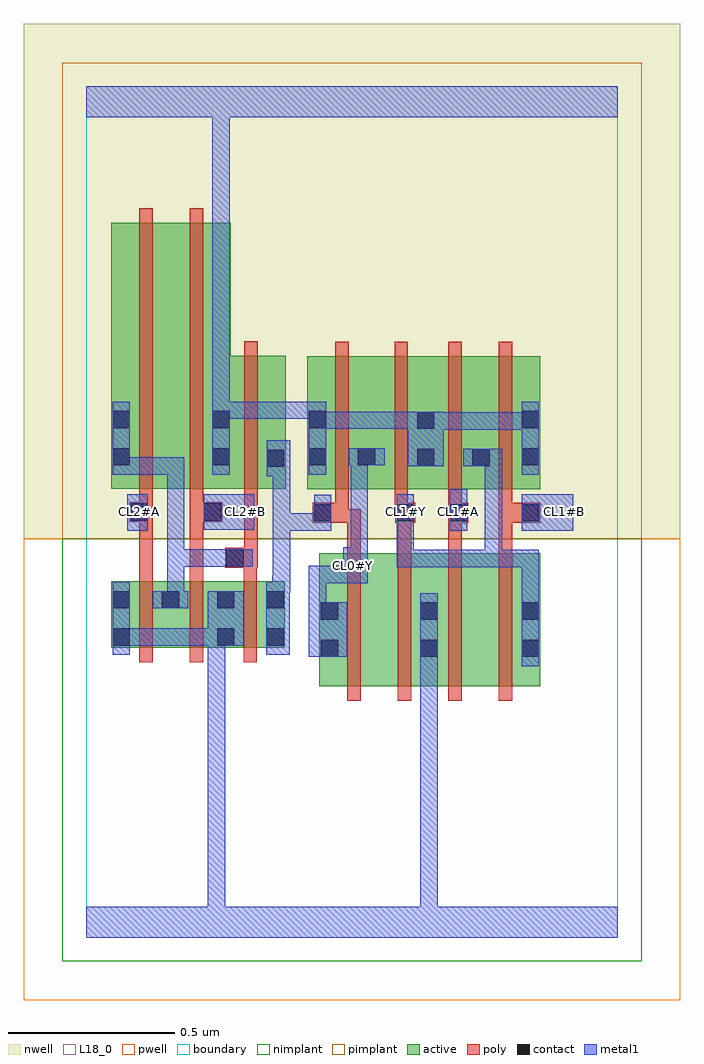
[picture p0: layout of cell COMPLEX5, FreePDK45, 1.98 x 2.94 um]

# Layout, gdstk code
import gdstk
lib = gdstk.Library(unit=1e-6, precision=1e-09)
def R(c, l, rs):  # rectangles x0, y0, x1, y1
    for r in rs: c.add(gdstk.rectangle(r[:2], r[2:], *l))
def A(c, l, x, y, w, h, nx, ny, dx, dy):  # array of equal rectangles
    R(c, l, [(x+i*dx, y+j*dy, x+i*dx+w, y+j*dy+h) for i in range(nx) for j in range(ny)])
active = (1, 0)
pwell = (2, 0)
nwell = (3, 0)
nimplant = (4, 0)
pimplant = (5, 0)
poly = (9, 0)
contact = (10, 0)
metal1 = (11, 0)
L18_0 = (18, 0)
boundary = (235, 0)

complex5 = lib.new_cell('COMPLEX5')
R(complex5, active, [(0.702,0.756,0.762,1.156), (0.702,0.756,0.882,1.156), (0.882,0.756,1.062,1.156), (1.002,0.756,1.062,1.156), (1.002,0.756,1.186,1.156), (1.186,0.756,1.366,1.156), (1.306,0.756,1.366,1.156), (0.076,0.872,0.136,1.072), (0.076,0.872,0.284,1.072), (0.224,0.872,0.284,1.072), (0.224,0.872,0.45,1.072), (0.39,0.872,0.45,1.072), (0.39,0.872,0.598,1.072), (0.538,0.872,0.598,1.072), (0.666,1.348,0.726,1.644), (0.666,1.348,0.874,1.748), (0.814,1.348,1.052,1.748), (0.992,1.348,1.218,1.748), (1.158,1.348,1.366,1.748), (1.306,1.348,1.366,1.644), (0.076,1.35,0.256,2.15), (0.076,1.35,0.136,2.044), (0.256,1.35,0.436,2.15), (0.376,1.35,0.6,1.75), (0.376,1.35,0.436,1.738), (0.54,1.35,0.6,1.644), (0.992,1.414,1.052,1.644), (1.158,1.414,1.218,1.644), (0.814,1.416,0.874,1.644)])
R(complex5, pwell, [(-0.188,-0.188,1.788,1.2)])
R(complex5, nwell, [(-0.188,1.2,1.788,2.748)])
R(complex5, nimplant, [(-0.072,-0.072,1.672,1.2)])
R(complex5, pimplant, [(-0.072,1.2,1.672,2.632)])
A(complex5, poly, 0.786, 0.712, 0.04, 0.488, 4, 1, 0.152, 0)
A(complex5, poly, 0.786, 1.16, 0.04, 0.128, 4, 1, 0.152, 0)
R(complex5, poly, [(0.16,0.828,0.2,1.116), (0.312,0.828,0.352,1.116), (0.474,0.828,0.514,1.116), (0.16,1.076,0.2,1.29), (0.312,1.076,0.352,1.29), (0.474,1.076,0.514,1.152), (0.418,1.112,0.516,1.172), (0.476,1.132,0.516,1.172), (0.476,1.132,0.516,1.172), (0.476,1.132,0.516,1.346), (0.682,1.248,0.79,1.308), (0.75,1.248,0.79,1.288), (0.75,1.248,0.826,1.288), (0.93,1.248,0.99,1.308), (1.09,1.248,1.13,1.288), (1.09,1.248,1.13,1.288), (1.09,1.248,1.15,1.308), (1.242,1.248,1.282,1.288), (1.242,1.248,1.282,1.288), (1.242,1.248,1.366,1.308), (0.13,1.25,0.2,1.31), (0.312,1.25,0.352,1.29), (0.312,1.25,0.352,1.29), (0.312,1.25,0.41,1.31), (0.75,1.268,0.79,1.344), (0.928,1.268,0.968,1.344), (0.928,1.268,0.97,1.308), (0.93,1.268,0.97,1.308), (1.09,1.268,1.13,1.344), (1.242,1.268,1.282,1.344), (0.16,1.27,0.2,1.346), (0.16,1.27,0.2,1.31), (0.16,1.27,0.2,1.31), (0.312,1.27,0.352,1.346), (0.75,1.304,0.79,1.792), (0.928,1.304,0.968,1.792), (1.09,1.304,1.13,1.792), (1.242,1.304,1.282,1.792), (0.16,1.306,0.2,2.194), (0.312,1.306,0.352,2.194), (0.476,1.306,0.516,1.794)])
R(complex5, contact, [(0.706,0.844,0.758,0.896), (1.006,0.844,1.058,0.896), (1.31,0.844,1.362,0.896), (0.08,0.878,0.132,0.93), (0.394,0.878,0.446,0.93), (0.542,0.878,0.594,0.93), (0.706,0.956,0.758,1.008), (1.006,0.956,1.058,1.008), (1.31,0.956,1.362,1.008), (0.08,0.99,0.132,1.042), (0.228,0.99,0.28,1.042), (0.394,0.99,0.446,1.042), (0.542,0.99,0.594,1.042), (0.422,1.116,0.474,1.168), (0.686,1.252,0.738,1.304), (0.934,1.252,0.986,1.304), (1.094,1.252,1.146,1.304), (1.31,1.252,1.362,1.304), (0.134,1.254,0.186,1.306), (0.354,1.254,0.406,1.306), (0.544,1.416,0.596,1.468), (0.996,1.418,1.048,1.47), (1.162,1.418,1.214,1.47), (0.08,1.42,0.132,1.472), (0.38,1.42,0.432,1.472), (0.67,1.42,0.722,1.472), (0.818,1.42,0.87,1.472), (1.31,1.42,1.362,1.472), (0.996,1.53,1.048,1.582), (0.08,1.532,0.132,1.584), (0.38,1.532,0.432,1.584), (0.67,1.532,0.722,1.584), (1.31,1.532,1.362,1.584)])
R(complex5, metal1, [(0,0,1.6,0.092), (0.366,0.04,0.418,0.092), (0.366,0.04,0.418,0.092), (0.366,0.04,0.418,0.092), (0.366,0.04,0.418,0.092), (0.366,0.04,0.418,0.092), (0.366,0.04,0.418,0.092), (0.366,0.04,0.418,0.092), (0.366,0.04,0.418,0.092), (0.366,0.04,0.418,0.092), (0.366,0.04,0.418,0.092), (0.366,0.04,0.418,0.93), (1.006,0.04,1.058,0.092), (1.006,0.04,1.058,0.092), (1.006,0.04,1.058,0.092), (1.006,0.04,1.058,0.092), (1.006,0.04,1.058,0.092), (1.006,0.04,1.058,0.092), (1.006,0.04,1.058,0.092), (1.006,0.04,1.058,0.092), (1.006,0.04,1.058,0.092), (1.006,0.04,1.058,0.092), (1.006,0.04,1.058,0.868), (1.006,0.816,1.058,0.868), (1.006,0.816,1.058,0.868), (1.006,0.816,1.058,1.036), (1.31,0.816,1.362,1.036), (0.67,0.844,0.786,1.008), (0.08,0.85,0.132,1.07), (0.542,0.85,0.612,1.07), (0.08,0.878,0.132,0.93), (0.08,0.878,0.132,0.93), (0.08,0.878,0.296,0.93), (0.244,0.878,0.296,0.93), (0.244,0.878,0.296,0.93), (0.244,0.878,0.296,0.93), (0.244,0.878,0.418,0.93), (0.366,0.878,0.418,0.93), (0.366,0.878,0.418,0.93), (0.366,0.878,0.418,0.93), (0.366,0.878,0.418,0.93), (0.366,0.878,0.418,0.93), (0.366,0.878,0.418,0.93), (0.366,0.878,0.474,1.042), (0.67,0.956,0.722,1.118), (1.31,0.984,1.362,1.166), (0.2,0.99,0.308,1.042), (0.244,0.99,0.296,1.168), (0.56,1.018,0.612,1.09), (0.56,1.038,0.614,1.09), (0.562,1.038,0.614,1.276), (0.67,1.066,0.722,1.118), (0.67,1.066,0.826,1.118), (0.774,1.066,0.826,1.118), (0.774,1.066,0.826,1.118), (0.774,1.066,0.848,1.174), (0.934,1.114,1.252,1.166), (0.934,1.114,0.986,1.276), (1.2,1.114,1.252,1.166), (1.2,1.114,1.252,1.166), (1.2,1.114,1.252,1.166), (1.2,1.114,1.362,1.166), (1.2,1.114,1.252,1.47), (1.31,1.114,1.362,1.166), (1.31,1.114,1.362,1.166), (1.31,1.114,1.362,1.166), (0.244,1.116,0.296,1.168), (0.244,1.116,0.296,1.168), (0.244,1.116,0.296,1.168), (0.244,1.116,0.446,1.168), (0.244,1.116,0.296,1.444), (0.394,1.116,0.446,1.168), (0.394,1.116,0.446,1.168), (0.394,1.116,0.502,1.168), (0.796,1.122,0.848,1.472), (0.124,1.224,0.186,1.334), (0.562,1.224,0.614,1.44), (0.562,1.224,0.616,1.276), (0.564,1.224,0.616,1.276), (0.564,1.224,0.616,1.276), (0.564,1.224,0.738,1.276), (0.686,1.224,0.738,1.332), (0.934,1.224,0.986,1.276), (0.934,1.224,0.986,1.334), (1.094,1.224,1.146,1.348), (1.31,1.224,1.466,1.334), (0.354,1.226,0.506,1.334), (0.544,1.388,0.614,1.496), (0.08,1.392,0.132,1.444), (0.08,1.392,0.132,1.444), (0.08,1.392,0.132,1.444), (0.08,1.392,0.132,1.444), (0.08,1.392,0.132,1.612), (0.08,1.392,0.296,1.444), (0.244,1.392,0.296,1.444), (0.38,1.392,0.432,1.612), (0.67,1.392,0.722,1.612), (1.31,1.392,1.362,1.612), (0.968,1.418,1.076,1.582), (1.134,1.418,1.252,1.47), (1.2,1.418,1.252,1.47), (1.2,1.418,1.252,1.47), (0.79,1.42,0.898,1.472), (0.796,1.42,0.848,1.472), (0.796,1.42,0.848,1.472), (1.024,1.528,1.252,1.58), (1.2,1.528,1.252,1.58), (1.2,1.528,1.252,1.58), (1.2,1.528,1.252,1.58), (1.2,1.528,1.362,1.58), (1.31,1.528,1.362,1.58), (1.31,1.528,1.362,1.58), (0.67,1.53,0.848,1.582), (0.796,1.53,0.848,1.582), (0.796,1.53,0.848,1.582), (0.796,1.53,0.848,1.582), (0.796,1.53,1.02,1.582), (0.968,1.53,1.02,1.582), (0.968,1.53,1.02,1.582), (0.38,1.56,0.432,1.612), (0.38,1.56,0.432,1.612), (0.38,1.56,0.432,1.612), (0.38,1.56,0.432,1.612), (0.38,1.56,0.432,1.612), (0.38,1.56,0.432,1.612), (0.38,1.56,0.432,1.612), (0.38,1.56,0.432,1.612), (0.38,1.56,0.432,1.612), (0.38,1.56,0.432,1.612), (0.38,1.56,0.628,1.612), (0.38,1.56,0.432,2.52), (0.576,1.56,0.628,1.612), (0.576,1.56,0.628,1.612), (0.576,1.56,0.628,1.612), (0.576,1.56,0.628,1.612), (0.576,1.56,0.628,1.612), (0.576,1.56,0.628,1.612), (0.576,1.56,0.628,1.612), (0.576,1.56,0.628,1.612), (0.576,1.56,0.628,1.612), (0.576,1.56,0.722,1.612), (0,2.468,1.6,2.56)])
R(complex5, L18_0, [(0,0,1.6,0.092), (0.366,0.04,0.418,0.092), (0.366,0.04,0.418,0.092), (0.366,0.04,0.418,0.092), (0.366,0.04,0.418,0.092), (0.366,0.04,0.418,0.092), (0.366,0.04,0.418,0.092), (0.366,0.04,0.418,0.092), (0.366,0.04,0.418,0.092), (0.366,0.04,0.418,0.092), (0.366,0.04,0.418,0.092), (0.366,0.04,0.418,0.93), (1.006,0.04,1.058,0.092), (1.006,0.04,1.058,0.092), (1.006,0.04,1.058,0.092), (1.006,0.04,1.058,0.092), (1.006,0.04,1.058,0.092), (1.006,0.04,1.058,0.092), (1.006,0.04,1.058,0.092), (1.006,0.04,1.058,0.092), (1.006,0.04,1.058,0.092), (1.006,0.04,1.058,0.092), (1.006,0.04,1.058,0.868), (1.006,0.816,1.058,1.036), (1.006,0.816,1.058,0.868), (1.006,0.816,1.058,0.868), (1.31,0.816,1.362,1.036), (0.67,0.844,0.786,1.008), (0.08,0.85,0.132,1.07), (0.08,0.878,0.132,0.93), (0.08,0.878,0.132,0.93), (0.08,0.878,0.296,0.93), (0.244,0.878,0.296,0.93), (0.244,0.878,0.296,0.93), (0.244,0.878,0.296,0.93), (0.244,0.878,0.418,0.93), (0.366,0.878,0.418,0.93), (0.366,0.878,0.418,0.93), (0.366,0.878,0.418,0.93), (0.366,0.878,0.418,0.93), (0.366,0.878,0.418,0.93), (0.366,0.878,0.418,0.93), (0.366,0.878,0.474,1.042), (0.67,0.956,0.722,1.118), (1.31,0.984,1.362,1.166), (0.67,1.066,0.722,1.118), (0.67,1.066,0.826,1.118), (0.774,1.066,0.826,1.118), (0.774,1.066,0.826,1.118), (0.774,1.066,0.848,1.174), (0.774,1.094,0.826,1.146), (0.934,1.114,0.986,1.276), (0.934,1.114,1.252,1.166), (1.2,1.114,1.252,1.166), (1.2,1.114,1.252,1.166), (1.2,1.114,1.252,1.166), (1.2,1.114,1.252,1.47), (1.2,1.114,1.362,1.166), (1.31,1.114,1.362,1.166), (1.31,1.114,1.362,1.166), (1.31,1.114,1.362,1.166), (0.796,1.122,0.848,1.472), (0.124,1.224,0.186,1.334), (0.934,1.224,0.986,1.276), (0.934,1.224,0.986,1.334), (1.094,1.224,1.146,1.348), (1.31,1.224,1.466,1.334), (0.354,1.226,0.506,1.334), (0.134,1.254,0.186,1.306), (0.454,1.254,0.506,1.306), (0.934,1.254,0.986,1.306), (1.094,1.254,1.146,1.306), (1.414,1.254,1.466,1.306), (0.38,1.392,0.432,1.612), (0.67,1.392,0.722,1.612), (1.31,1.392,1.362,1.612), (0.968,1.418,1.076,1.582), (1.134,1.418,1.252,1.47), (1.2,1.418,1.252,1.47), (1.2,1.418,1.252,1.47), (0.79,1.42,0.898,1.472), (0.796,1.42,0.848,1.472), (0.796,1.42,0.848,1.472), (1.024,1.528,1.252,1.58), (1.2,1.528,1.252,1.58), (1.2,1.528,1.252,1.58), (1.2,1.528,1.252,1.58), (1.2,1.528,1.362,1.58), (1.31,1.528,1.362,1.58), (1.31,1.528,1.362,1.58), (0.67,1.53,0.848,1.582), (0.796,1.53,0.848,1.582), (0.796,1.53,0.848,1.582), (0.796,1.53,0.848,1.582), (0.796,1.53,1.02,1.582), (0.968,1.53,1.02,1.582), (0.968,1.53,1.02,1.582), (0.38,1.56,0.432,1.612), (0.38,1.56,0.432,1.612), (0.38,1.56,0.432,1.612), (0.38,1.56,0.432,1.612), (0.38,1.56,0.432,1.612), (0.38,1.56,0.432,1.612), (0.38,1.56,0.432,1.612), (0.38,1.56,0.432,1.612), (0.38,1.56,0.432,1.612), (0.38,1.56,0.432,1.612), (0.38,1.56,0.432,2.52), (0.38,1.56,0.628,1.612), (0.576,1.56,0.628,1.612), (0.576,1.56,0.628,1.612), (0.576,1.56,0.628,1.612), (0.576,1.56,0.628,1.612), (0.576,1.56,0.628,1.612), (0.576,1.56,0.628,1.612), (0.576,1.56,0.628,1.612), (0.576,1.56,0.628,1.612), (0.576,1.56,0.628,1.612), (0.576,1.56,0.722,1.612), (0,2.468,1.6,2.56)])
R(complex5, boundary, [(0,0,1.6,2.56)])
complex5.add(gdstk.Label('CL0#Y', (0.8,1.12), layer=11, texttype=0))
complex5.add(gdstk.Label('CL1#A', (1.12,1.28), layer=11, texttype=0))
complex5.add(gdstk.Label('CL1#B', (1.44,1.28), layer=11, texttype=0))
complex5.add(gdstk.Label('CL1#Y', (0.96,1.28), layer=11, texttype=0))
complex5.add(gdstk.Label('CL2#A', (0.16,1.28), layer=11, texttype=0))
complex5.add(gdstk.Label('CL2#B', (0.48,1.28), layer=11, texttype=0))

lib.write_gds('COMPLEX5.gds')
